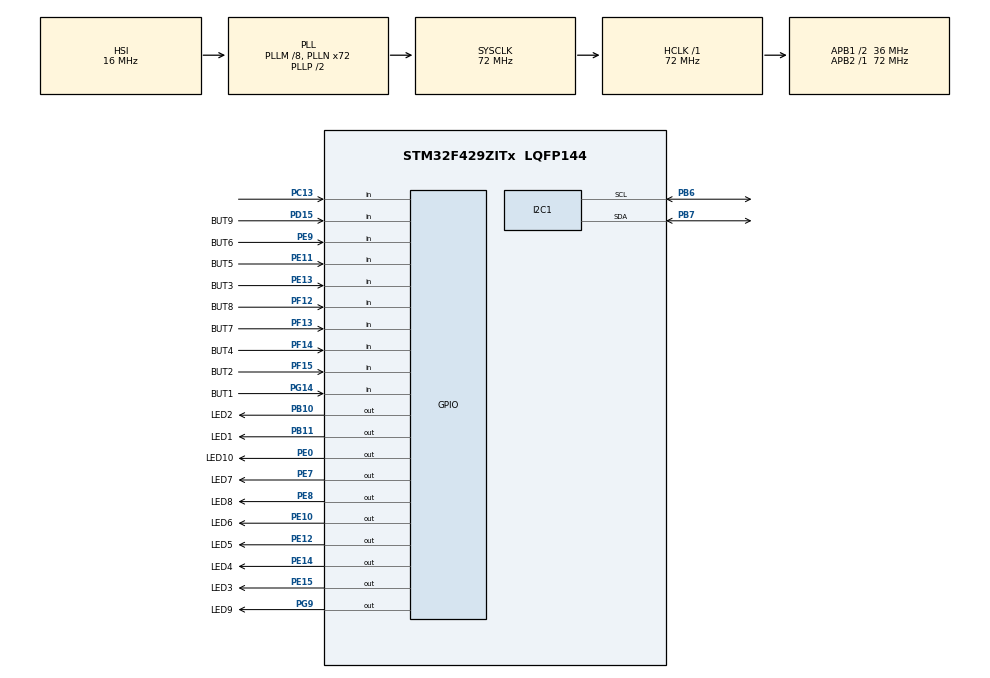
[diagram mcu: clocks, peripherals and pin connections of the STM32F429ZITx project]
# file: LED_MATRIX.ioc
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I2C1.I2C_Mode=I2C_Fast
Mcu.Family=STM32F4
Mcu.Name=STM32F429ZITx
Mcu.Package=LQFP144
NVIC.HASH_RNG_IRQn=true\:0\:0\:false\:false\:true\:true\:true
NVIC.PriorityGroup=NVIC_PRIORITYGROUP_4
PA13.Mode=Serial_Wire
PA13.Signal=SYS_JTMS-SWDIO
PA14.Mode=Serial_Wire
PA14.Signal=SYS_JTCK-SWCLK
PB10.GPIO_Label=LED2
PB10.Signal=GPIO_Output
PB11.GPIO_Label=LED1
PB11.Signal=GPIO_Output
PB6.Mode=I2C
PB6.Signal=I2C1_SCL
PB7.Mode=I2C
PB7.Signal=I2C1_SDA
PC13.Signal=GPIO_Input
PD15.GPIO_Label=BUT9
PD15.GPIO_PuPd=GPIO_PULLUP
PD15.Signal=GPIO_Input
PE0.GPIO_Label=LED10
PE0.Signal=GPIO_Output
PE10.GPIO_Label=LED6
PE10.Signal=GPIO_Output
PE11.GPIO_Label=BUT5
PE11.GPIO_PuPd=GPIO_PULLUP
PE11.Signal=GPIO_Input
PE12.GPIO_Label=LED5
PE12.Signal=GPIO_Output
PE13.GPIO_Label=BUT3
PE13.GPIO_PuPd=GPIO_PULLUP
PE13.Signal=GPIO_Input
PE14.GPIO_Label=LED4
PE14.Signal=GPIO_Output
PE15.GPIO_Label=LED3
PE15.Signal=GPIO_Output
PE7.GPIO_Label=LED7
PE7.Signal=GPIO_Output
PE8.GPIO_Label=LED8
PE8.Signal=GPIO_Output
PE9.GPIO_Label=BUT6
PE9.GPIO_PuPd=GPIO_PULLUP
PE9.Signal=GPIO_Input
PF12.GPIO_Label=BUT8
PF12.GPIO_PuPd=GPIO_PULLUP
PF12.Signal=GPIO_Input
PF13.GPIO_Label=BUT7
PF13.GPIO_PuPd=GPIO_PULLUP
PF13.Signal=GPIO_Input
PF14.GPIO_Label=BUT4
PF14.GPIO_PuPd=GPIO_PULLUP
PF14.Signal=GPIO_Input
PF15.GPIO_Label=BUT2
PF15.GPIO_PuPd=GPIO_PULLUP
PF15.Signal=GPIO_Input
PG14.GPIO_Label=BUT1
PG14.GPIO_PuPd=GPIO_PULLUP
PG14.Signal=GPIO_Input
PG9.GPIO_Label=LED9
PG9.Signal=GPIO_Output
PH0/OSC_IN.Mode=HSE-External-Oscillator
PH0/OSC_IN.Signal=RCC_OSC_IN
PH1/OSC_OUT.Mode=HSE-External-Oscillator
PH1/OSC_OUT.Signal=RCC_OSC_OUT
ProjectManager.HeapSize=0x200
ProjectManager.StackSize=0x400
ProjectManager.TargetToolchain=STM32CubeIDE
RCC.48MHZClocksFreq_Value=48000000
RCC.AHBFreq_Value=72000000
RCC.APB1CLKDivider=RCC_HCLK_DIV2
RCC.APB1Freq_Value=36000000
RCC.APB1TimFreq_Value=72000000
RCC.APB2Freq_Value=72000000
RCC.APB2TimFreq_Value=72000000
RCC.CortexFreq_Value=72000000
RCC.HCLKFreq_Value=72000000
RCC.HSE_VALUE=25000000
RCC.HSI_VALUE=16000000
RCC.LSE_VALUE=32768
RCC.PLLM=8
RCC.PLLN=72
RCC.PLLQ=3
RCC.SYSCLKFreq_VALUE=72000000
RCC.SYSCLKSource=RCC_SYSCLKSOURCE_PLLCLK
RCC.VCOOutputFreq_Value=144000000
VP_RNG_VS_RNG.Mode=RNG_Activate
board=custom

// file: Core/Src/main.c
/* USER CODE BEGIN Header */
/**
 ******************************************************************************
 * @file           : main.c
 * @brief          : Main program body
 ******************************************************************************
 * @attention
 *
 * <h2><center>&copy; Copyright (c) 2021 STMicroelectronics.
 * All rights reserved.</center></h2>
 *
 * This software component is licensed by ST under BSD 3-Clause license,
 * the "License"; You may not use this file except in compliance with the
 * License. You may obtain a copy of the License at:
 *                        opensource.org/licenses/BSD-3-Clause
 *
 ******************************************************************************
 */
/* USER CODE END Header */
#include "main.h"

/* USER CODE BEGIN Includes */

#include "ssd1306.h"
#include "image.h"
#include "fonts.h"
/* USER CODE END Includes */

I2C_HandleTypeDef hi2c1;

RNG_HandleTypeDef hrng;

void SystemClock_Config(void);
static void MX_GPIO_Init(void);
static void MX_RNG_Init(void);
static void MX_I2C1_Init(void);
/* USER CODE BEGIN PFP */
uint8_t skill=0;
uint8_t force=0;
uint8_t mind=0;
char* skill_c = NULL;
char* force_c = NULL;
char* mind_c = NULL;
/* USER CODE END PFP */

/* USER CODE BEGIN 0 */
uint16_t arr_led_pin[9]  = {LED1_Pin, LED2_Pin, LED3_Pin,
			LED4_Pin, LED5_Pin, LED6_Pin,
			LED7_Pin, LED8_Pin, LED9_Pin};

	GPIO_TypeDef * arr_led_port[9] = {LED1_GPIO_Port, LED2_GPIO_Port, LED3_GPIO_Port,
			LED4_GPIO_Port, LED5_GPIO_Port, LED6_GPIO_Port,
			LED7_GPIO_Port, LED8_GPIO_Port, LED9_GPIO_Port};

	uint16_t arr_but_pin[9]  = {BUT1_Pin, BUT2_Pin, BUT3_Pin,
			BUT4_Pin, BUT5_Pin, BUT6_Pin,
			BUT7_Pin, BUT8_Pin, BUT9_Pin};

	GPIO_TypeDef * arr_but_port[9] = {BUT1_GPIO_Port, BUT2_GPIO_Port, BUT3_GPIO_Port,
			BUT4_GPIO_Port, BUT5_GPIO_Port, BUT6_GPIO_Port,
			BUT7_GPIO_Port, BUT8_GPIO_Port, BUT9_GPIO_Port};
	uint32_t rand_num;
void rand_comb(uint8_t round, uint8_t* combination)
{
	HAL_RNG_GenerateRandomNumber(&hrng, &rand_num);
	srand(rand_num);
	for (uint8_t i = 0; i < round; i++)
	{
		uint8_t x = rand()%9;
//			uint8_t x = ((uint8_t)rand_num)%9;
		combination[i] = x;
		HAL_GPIO_WritePin(arr_led_port[x], arr_led_pin[x], 1);
		HAL_Delay(500);
		HAL_GPIO_WritePin(arr_led_port[x], arr_led_pin[x], 0);
		HAL_Delay(500);
	}
}
void conv_dec_to_char( uint8_t value,// значення, яке будемо рзбивати на цифри
					  char *chars, // вказівник на масив цифр в двійковій формі
					  uint8_t N) // довжина масиву цифр
{
	uint8_t digits_array[2] = {0};

	for(int i = N - 1; (i > 0) && (value != 0); i--)
	{
		digits_array[i] = value % 10;
		value = value / 10;
		chars[i] = '0' + digits_array[i];
	}
}
void rep_comb(uint8_t round, uint8_t* my_combination)
{
	uint8_t num_press = 0;

		for (uint8_t x = 0; x < 9; x++)
		{
			if(HAL_GPIO_ReadPin(arr_but_port[x], arr_but_pin[x]) == 0)
			{
				HAL_GPIO_WritePin(arr_led_port[x], arr_led_pin[x], 1);
				my_combination[num_press] = x ;
				num_press ++;
				HAL_Delay(500);
				HAL_GPIO_WritePin(arr_led_port[x], arr_led_pin[x], 0);
			}
			else
			{
				HAL_GPIO_WritePin(arr_led_port[x], arr_led_pin[x], 0);
				//HAL_Delay(200);

			}
			if(x == 8)
			{
				x = 255;
			}
			if(num_press == round)
			{
				x = 9;
			}
		}

}
int	 examination(uint8_t round, uint8_t* combination, uint8_t* my_combination)
{
	uint8_t result = 0;
	for (uint8_t i = 0; i < round; i++)
	{
		if(combination[i] != my_combination[i])
		{
			result = 0;
			i = round;
		}
		else
		{
			result = 1;
		}
	}
	return result;
}
void lose()
{
	for(uint8_t x = 0; x < 9; x++)
	{
		HAL_GPIO_WritePin(arr_led_port[x], arr_led_pin[x], 0);
	}
	for(uint8_t x = 0; x < 9; x++)
	{
		HAL_GPIO_WritePin(arr_led_port[x], arr_led_pin[x], 1);
		HAL_Delay(200);
		HAL_GPIO_WritePin(arr_led_port[x], arr_led_pin[x], 0);
	}
}
void clear_screen()
{
	SSD1306_DrawFilledRectangle(0, 0, 128, 64, 0);
}

/* USER CODE END 0 */

int main(void)
{

  /* MCU Configuration--------------------------------------------------------*/

  /* Reset of all peripherals, Initializes the Flash interface and the Systick. */
  HAL_Init();

  /* Configure the system clock */
  SystemClock_Config();

  /* Initialize all configured peripherals */
  MX_GPIO_Init();
  MX_RNG_Init();
  MX_I2C1_Init();
  /* USER CODE BEGIN 2 */
  	  SSD1306_Init();
  	clear_screen();

	SSD1306_DrawFilledRectangle(0, 0, 128, 64, 0);
	SSD1306_DrawBitmap(0, 0, logo_nasa, 128, 64, 1);
	SSD1306_UpdateScreen();
	HAL_Delay(2000);
	uint8_t combination[20]    = {0};
	uint8_t my_combination[20] = {0};
	uint8_t pos_cosm = 0, is_up = 1;
 // 7x10
	skill_c = (char *) malloc(2);
	force_c = (char *) malloc(2);
	mind_c =  (char *) malloc(2);
	skill_c[0] = '0';
	skill_c[1] = '0';
	force_c[0] = '0';
	force_c[1] = '0';
	mind_c[0] = '0';
	mind_c[1] = '0';
	/* USER CODE END 2 */

  /* Infinite loop */
  /* USER CODE BEGIN WHILE */
	while (1)
	{
		if(pos_cosm == 10) is_up = 0;
		if(pos_cosm == 0) is_up = 1;
		if(is_up == 1) pos_cosm++;
			else pos_cosm--;
		SSD1306_DrawFilledRectangle(0, 0, 128, 64, 0);
		SSD1306_DrawBitmap(0, 0, move_cosmo[pos_cosm], 128, 64, 1);

    /* USER CODE END WHILE */

    /* USER CODE BEGIN 3 */
		if(HAL_GPIO_ReadPin(GPIOC,  GPIO_PIN_13) == 1)
		{
			uint8_t round = 1;
			uint8_t score_now = 0;
			char score_now_c [2] = {'0', '0'};
			while(round!=0)
			{
				conv_dec_to_char(score_now, score_now_c, 2);
				SSD1306_DrawFilledRectangle(110, 14, 18, 13, 0);
				SSD1306_GotoXY(110, 14);

				SSD1306_Puts(score_now_c, &Font_7x10, 1);
				SSD1306_UpdateScreen();
				score_now++;
				if(round == 1)
				{
					SSD1306_DrawFilledRectangle(0, 0, 128, 64, 0);
					SSD1306_DrawBitmap(0, 0, lamp[0], 128, 64, 1);
					SSD1306_GotoXY(110, 14);
					SSD1306_Puts(score_now_c, &Font_7x10, 1);
					SSD1306_UpdateScreen();

				}
				if(round == 2)
				{
					SSD1306_DrawFilledRectangle(0, 0, 128, 64, 0);
					SSD1306_DrawBitmap(0, 0, lamp[1], 128, 64, 1);
					SSD1306_GotoXY(110, 14);
					SSD1306_Puts(score_now_c, &Font_7x10, 1);
					SSD1306_UpdateScreen();
				}
				if(round == 4)
				{
					SSD1306_DrawFilledRectangle(0, 0, 128, 64, 0);
					SSD1306_DrawBitmap(0, 0, lamp[2], 128, 64, 1);
					SSD1306_GotoXY(110, 14);
					SSD1306_Puts(score_now_c, &Font_7x10, 1);
					SSD1306_UpdateScreen();
				}
				uint8_t result = 0;
				rand_comb(round, combination);
				rep_comb(round,  my_combination);
				result = examination(round, combination, my_combination);
				if(result == 0)
				{

					SSD1306_DrawFilledRectangle(0, 0, 128, 64, 0);
					SSD1306_DrawBitmap(0, 0, damage_lamp, 128, 64, 1);
					SSD1306_GotoXY(110, 14);
					SSD1306_Puts(score_now_c, &Font_7x10, 1);
					SSD1306_UpdateScreen();
					mind+=round-1;
					round = 0;
					lose();

				}
				else round ++;
			}
			SSD1306_DrawFilledRectangle(0, 0, 128, 64, 0);
			SSD1306_DrawBitmap(0, 0, move_cosmo[pos_cosm], 128, 64, 1);
			SSD1306_UpdateScreen();
		}
		SSD1306_DrawFilledRectangle(108, 0, 20, 38, 0);

		conv_dec_to_char(force,  force_c, 2);
		conv_dec_to_char(skill,  skill_c, 2);
		conv_dec_to_char(mind,  mind_c, 2);
		/*for(int j = 0; j<2; j++)
		{
			SSD1306_GotoXY( 110+j*8, 2);
			SSD1306_Putc(force_c[j], &Font_7x10, 1);
		}*/
		SSD1306_GotoXY(110, 2);
		SSD1306_Puts(force_c, &Font_7x10, 1);
		//SSD1306_UpdateScreen();
		/*for(int j = 0; j<2; j++)
		{
			SSD1306_GotoXY(110+j*8, 14);
			SSD1306_Putc(skill_c[j], &Font_7x10, 1);
		}*/
		SSD1306_GotoXY(110, 14);
		SSD1306_Puts(skill_c, &Font_7x10, 1);
		//SSD1306_UpdateScreen();
		/*for(int j = 0; j<2; j++)
		{
			SSD1306_GotoXY(110+j*8,26 );
			SSD1306_Putc(mind_c[j], &Font_7x10, 1);
		}*/
		//SSD1306_UpdateScreen();
		SSD1306_GotoXY(110, 26);
		SSD1306_Puts(mind_c, &Font_7x10, 1);
		SSD1306_UpdateScreen();
		HAL_Delay(100);
	}
  /* USER CODE END 3 */
}

void SystemClock_Config(void)
{
  RCC_OscInitTypeDef RCC_OscInitStruct = {0};
  RCC_ClkInitTypeDef RCC_ClkInitStruct = {0};

  /** Configure the main internal regulator output voltage
  */
  __HAL_RCC_PWR_CLK_ENABLE();
  __HAL_PWR_VOLTAGESCALING_CONFIG(PWR_REGULATOR_VOLTAGE_SCALE3);
  /** Initializes the RCC Oscillators according to the specified parameters
  * in the RCC_OscInitTypeDef structure.
  */
  RCC_OscInitStruct.OscillatorType = RCC_OSCILLATORTYPE_HSI;
  RCC_OscInitStruct.HSIState = RCC_HSI_ON;
  RCC_OscInitStruct.HSICalibrationValue = RCC_HSICALIBRATION_DEFAULT;
  RCC_OscInitStruct.PLL.PLLState = RCC_PLL_ON;
  RCC_OscInitStruct.PLL.PLLSource = RCC_PLLSOURCE_HSI;
  RCC_OscInitStruct.PLL.PLLM = 8;
  RCC_OscInitStruct.PLL.PLLN = 72;
  RCC_OscInitStruct.PLL.PLLP = RCC_PLLP_DIV2;
  RCC_OscInitStruct.PLL.PLLQ = 3;
  if (HAL_RCC_OscConfig(&RCC_OscInitStruct) != HAL_OK)
  {
    Error_Handler();
  }
  /** Initializes the CPU, AHB and APB buses clocks
  */
  RCC_ClkInitStruct.ClockType = RCC_CLOCKTYPE_HCLK|RCC_CLOCKTYPE_SYSCLK
                              |RCC_CLOCKTYPE_PCLK1|RCC_CLOCKTYPE_PCLK2;
  RCC_ClkInitStruct.SYSCLKSource = RCC_SYSCLKSOURCE_PLLCLK;
  RCC_ClkInitStruct.AHBCLKDivider = RCC_SYSCLK_DIV1;
  RCC_ClkInitStruct.APB1CLKDivider = RCC_HCLK_DIV2;
  RCC_ClkInitStruct.APB2CLKDivider = RCC_HCLK_DIV1;

  if (HAL_RCC_ClockConfig(&RCC_ClkInitStruct, FLASH_LATENCY_2) != HAL_OK)
  {
    Error_Handler();
  }
}

static void MX_I2C1_Init(void)
{

  hi2c1.Instance = I2C1;
  hi2c1.Init.ClockSpeed = 400000;
  hi2c1.Init.DutyCycle = I2C_DUTYCYCLE_2;
  hi2c1.Init.OwnAddress1 = 0;
  hi2c1.Init.AddressingMode = I2C_ADDRESSINGMODE_7BIT;
  hi2c1.Init.DualAddressMode = I2C_DUALADDRESS_DISABLE;
  hi2c1.Init.OwnAddress2 = 0;
  hi2c1.Init.GeneralCallMode = I2C_GENERALCALL_DISABLE;
  hi2c1.Init.NoStretchMode = I2C_NOSTRETCH_DISABLE;
  if (HAL_I2C_Init(&hi2c1) != HAL_OK)
  {
    Error_Handler();
  }
  /** Configure Analogue filter
  */
  if (HAL_I2CEx_ConfigAnalogFilter(&hi2c1, I2C_ANALOGFILTER_ENABLE) != HAL_OK)
  {
    Error_Handler();
  }
  /** Configure Digital filter
  */
  if (HAL_I2CEx_ConfigDigitalFilter(&hi2c1, 0) != HAL_OK)
  {
    Error_Handler();
  }

}

static void MX_RNG_Init(void)
{

  hrng.Instance = RNG;
  if (HAL_RNG_Init(&hrng) != HAL_OK)
  {
    Error_Handler();
  }

}

static void MX_GPIO_Init(void)
{
  GPIO_InitTypeDef GPIO_InitStruct = {0};

  /* GPIO Ports Clock Enable */
  __HAL_RCC_GPIOC_CLK_ENABLE();
  __HAL_RCC_GPIOH_CLK_ENABLE();
  __HAL_RCC_GPIOF_CLK_ENABLE();
  __HAL_RCC_GPIOE_CLK_ENABLE();
  __HAL_RCC_GPIOB_CLK_ENABLE();
  __HAL_RCC_GPIOD_CLK_ENABLE();
  __HAL_RCC_GPIOA_CLK_ENABLE();
  __HAL_RCC_GPIOG_CLK_ENABLE();

  /*Configure GPIO pin Output Level */
  HAL_GPIO_WritePin(GPIOE, LED7_Pin|LED8_Pin|LED6_Pin|LED5_Pin
                          |LED4_Pin|LED3_Pin|LED10_Pin, GPIO_PIN_RESET);

  /*Configure GPIO pin Output Level */
  HAL_GPIO_WritePin(GPIOB, LED2_Pin|LED1_Pin, GPIO_PIN_RESET);

  /*Configure GPIO pin Output Level */
  HAL_GPIO_WritePin(LED9_GPIO_Port, LED9_Pin, GPIO_PIN_RESET);

  /*Configure GPIO pin : PC13 */
  GPIO_InitStruct.Pin = GPIO_PIN_13;
  GPIO_InitStruct.Mode = GPIO_MODE_INPUT;
  GPIO_InitStruct.Pull = GPIO_NOPULL;
  HAL_GPIO_Init(GPIOC, &GPIO_InitStruct);

  /*Configure GPIO pins : BUT8_Pin BUT7_Pin BUT4_Pin BUT2_Pin */
  GPIO_InitStruct.Pin = BUT8_Pin|BUT7_Pin|BUT4_Pin|BUT2_Pin;
  GPIO_InitStruct.Mode = GPIO_MODE_INPUT;
  GPIO_InitStruct.Pull = GPIO_PULLUP;
  HAL_GPIO_Init(GPIOF, &GPIO_InitStruct);

  /*Configure GPIO pins : LED7_Pin LED8_Pin LED6_Pin LED5_Pin
                           LED4_Pin LED3_Pin LED10_Pin */
  GPIO_InitStruct.Pin = LED7_Pin|LED8_Pin|LED6_Pin|LED5_Pin
                          |LED4_Pin|LED3_Pin|LED10_Pin;
  GPIO_InitStruct.Mode = GPIO_MODE_OUTPUT_PP;
  GPIO_InitStruct.Pull = GPIO_NOPULL;
  GPIO_InitStruct.Speed = GPIO_SPEED_FREQ_LOW;
  HAL_GPIO_Init(GPIOE, &GPIO_InitStruct);

  /*Configure GPIO pins : BUT6_Pin BUT5_Pin BUT3_Pin */
  GPIO_InitStruct.Pin = BUT6_Pin|BUT5_Pin|BUT3_Pin;
  GPIO_InitStruct.Mode = GPIO_MODE_INPUT;
  GPIO_InitStruct.Pull = GPIO_PULLUP;
  HAL_GPIO_Init(GPIOE, &GPIO_InitStruct);

  /*Configure GPIO pins : LED2_Pin LED1_Pin */
  GPIO_InitStruct.Pin = LED2_Pin|LED1_Pin;
  GPIO_InitStruct.Mode = GPIO_MODE_OUTPUT_PP;
  GPIO_InitStruct.Pull = GPIO_NOPULL;
  GPIO_InitStruct.Speed = GPIO_SPEED_FREQ_LOW;
  HAL_GPIO_Init(GPIOB, &GPIO_InitStruct);

  /*Configure GPIO pin : BUT9_Pin */
  GPIO_InitStruct.Pin = BUT9_Pin;
  GPIO_InitStruct.Mode = GPIO_MODE_INPUT;
  GPIO_InitStruct.Pull = GPIO_PULLUP;
  HAL_GPIO_Init(BUT9_GPIO_Port, &GPIO_InitStruct);

  /*Configure GPIO pin : LED9_Pin */
  GPIO_InitStruct.Pin = LED9_Pin;
  GPIO_InitStruct.Mode = GPIO_MODE_OUTPUT_PP;
  GPIO_InitStruct.Pull = GPIO_NOPULL;
  GPIO_InitStruct.Speed = GPIO_SPEED_FREQ_LOW;
  HAL_GPIO_Init(LED9_GPIO_Port, &GPIO_InitStruct);

  /*Configure GPIO pin : BUT1_Pin */
  GPIO_InitStruct.Pin = BUT1_Pin;
  GPIO_InitStruct.Mode = GPIO_MODE_INPUT;
  GPIO_InitStruct.Pull = GPIO_PULLUP;
  HAL_GPIO_Init(BUT1_GPIO_Port, &GPIO_InitStruct);

}

void Error_Handler(void)
{
	__disable_irq();
	while (1)
	{
	}
}

/************************ (C) COPYRIGHT STMicroelectronics *****END OF FILE****/
